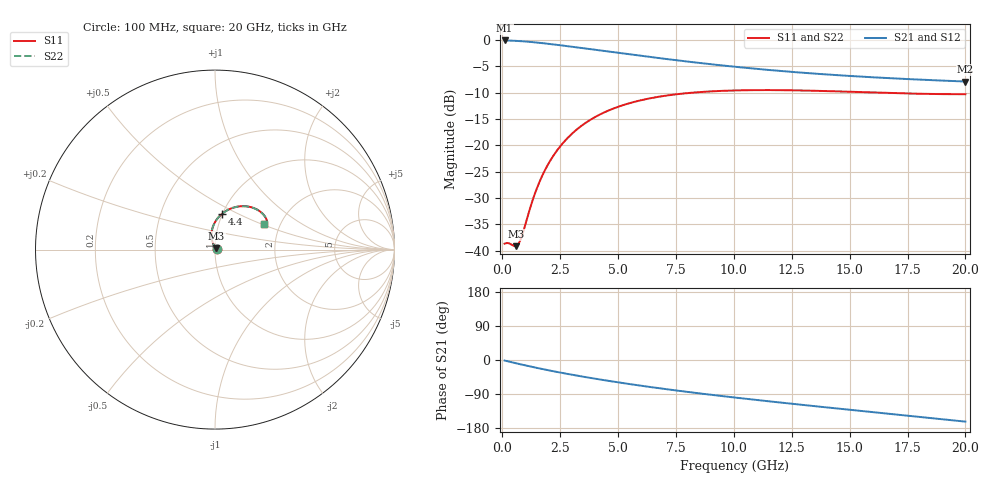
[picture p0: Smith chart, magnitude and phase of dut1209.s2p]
! Touchstone file exported from HFSS 2024.1.0
!  File:  C:/UserFiles/LocalFiles/RDL_TSV_Batchsim/temp_RDL_TSV_1209_1780259008.aedt
!  Generated:  04:37:57 AM Jun  1, 2026
!  Design:  RDL_TSV
!  Project:  temp_RDL_TSV_1209_1780259008
!  Setup:  Setup1
!  Solution:  Sweep
! Variables:
!  dtsv = 7.72um
!  hbump = 3um
!  htsv = 77.49um
!  ldown = 522.9um
!  lrdl = 148.24um
!  p = 40
!  p1 = 58.4um
!  rhole = 10um
!  subl = 2161.66um
!  t = 450um
!  tdown = 4.65um
!  trdl = 2.84um
!  viad = 10um
!  wdown = 28.53um
!  wrdl = 12.09um
!  xbump = 18um
# GHz S MA R 50.000000
! Terminal data exported
! Port[1] = TM1_1_T1
! Port[2] = TM1_4_T1
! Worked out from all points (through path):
!   200 points, 100 MHz to 20 GHz, reference 50 ohm
!   highest |S21| = -0.10 dB at 100 MHz (marker M1); lowest = -7.9 dB at 20 GHz (marker M2)
!   group delay of S21, straight-line fit = 21.2 ps
!   lowest |S11| = -39.2 dB at 600 MHz (marker M3), VSWR 1.02, Z = 50.7 + j0.837 ohm
!   |S11| at or under -10 dB: start of sweep to 8.264 GHz; 16.09 GHz to end of sweep
!   |S22| runs from -39.2 to -9.5 dB; largest |S21 - S12| = 2.2e-14
!   S11 on the Smith chart (normalised r, x): 100 MHz: 1.02, +0.00; 4.4 GHz: 1.00, +0.42; 20 GHz: 1.64, +0.51
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0.1  0.01161 7.8  0.9881 -1.5  0.9881 -1.5  0.01161 7.8
! Gamma 0 0 0 0
! Port Impedance 50 0 50 0
0.3  0.01169 20.2  0.9855 -4.4  0.9855 -4.4  0.01169 20.2
0.6  0.011 48.6  0.9791 -8.7  0.9791 -8.7  0.011 48.6
0.7  0.01152 61.7  0.9763 -10.1  0.9763 -10.1  0.01152 61.7
0.8  0.01283 74.4  0.9731 -11.5  0.9731 -11.5  0.01282 74.3
1.2  0.02521 102.6  0.9577 -17.0  0.9577 -17.0  0.02519 102.6
1.4  0.03426 106.8  0.9485 -19.6  0.9485 -19.6  0.03424 106.8
1.6  0.04447 108.1  0.9387 -22.2  0.9387 -22.2  0.04445 108.0
1.9  0.06126 107.2  0.923 -26.0  0.923 -26.0  0.06123 107.1
2.2  0.07914 104.6  0.9066 -29.6  0.9066 -29.6  0.0791 104.6
2.6  0.1037 100.1  0.8843 -34.3  0.8843 -34.3  0.1036 100.1
3  0.1281 95.2  0.8618 -38.8  0.8618 -38.8  0.1281 95.2
3.5  0.1575 89.0  0.8339 -44.1  0.8339 -44.1  0.1574 89.0
4.4  0.2047 78.5  0.7853 -53.2  0.7853 -53.2  0.2046 78.5
5.5  0.2509 67.5  0.7298 -63.5  0.7298 -63.5  0.2508 67.5
6.8  0.2896 56.7  0.6705 -74.7  0.6705 -74.7  0.2895 56.7
8.4  0.318 46.3  0.6082 -87.2  0.6082 -87.2  0.3178 46.3
10.1  0.3314 38.1  0.5544 -99.5  0.5544 -99.5  0.3313 38.1
11.7  0.3337 32.5  0.514 -110.3  0.514 -110.3  0.3335 32.5
13.4  0.3293 28.4  0.48 -121.2  0.48 -121.2  0.3291 28.4
16.7  0.3133 25.4  0.4333 -142.0  0.4333 -142.0  0.3131 25.3
20  0.3051 27.5  0.4026 -162.6  0.4026 -162.6  0.3049 27.5
